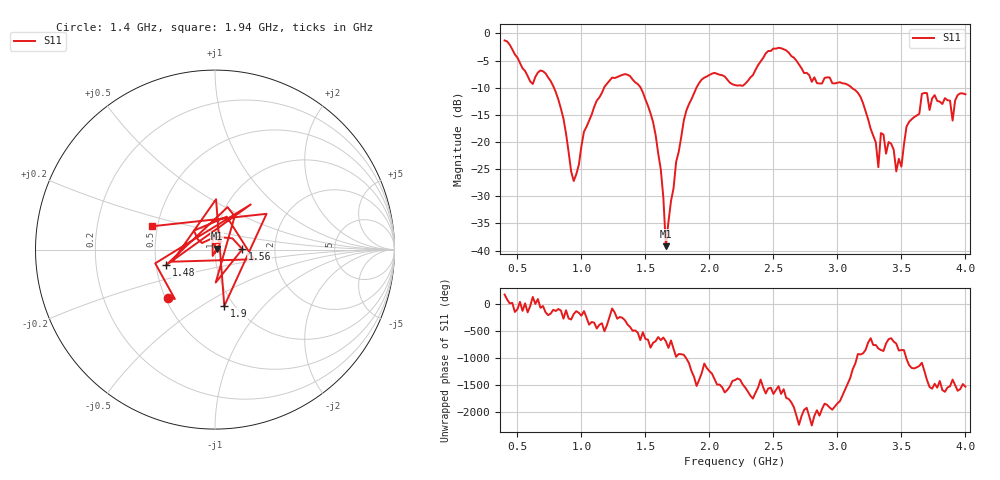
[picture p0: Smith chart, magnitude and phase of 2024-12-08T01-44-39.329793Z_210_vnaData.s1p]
!Created with skrf (http://scikit-rf.org).
# Hz S RI R 50.0
!freq ReS11 ImS11
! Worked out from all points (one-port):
!   181 points, 400 MHz to 4 GHz, reference 50 ohm
!   lowest |S11| = -39.2 dB at 1.66 GHz (marker M1), VSWR 1.02, Z = 51 + j0.545 ohm
!   |S11| at or under -10 dB: 785.4 MHz to 1.177 GHz (392 MHz wide, 39.9 % of centre); 1.463 GHz to 1.899 GHz (436.5 MHz wide, 26 % of centre); 3.112 GHz to end of sweep
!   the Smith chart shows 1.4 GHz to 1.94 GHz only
!   S11 on the Smith chart (normalised r, x): 1.4 GHz: 0.51, -0.32; 1.48 GHz: 0.56, -0.11; 1.56 GHz: 1.36, +0.01; 1.9 GHz: 0.90, -0.63; 1.94 GHz: 0.47, +0.14
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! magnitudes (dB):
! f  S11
! 400 MHz  -1.3
! 620 MHz  -9.3
! 720 MHz  -7.4
! 860 MHz  -15.7
! 940 MHz  -27.2
! 1.12 GHz  -12.4
! 1.3 GHz  -7.8
! 1.4 GHz  -8.5
! 1.48 GHz  -10.8
! 1.56 GHz  -16.3
! 1.62 GHz  -25.0
! 1.66 GHz  -39.2
! 1.76 GHz  -21.8
! 1.9 GHz  -9.9
! 1.94 GHz  -8.5
! 2.2 GHz  -9.5
! 2.5 GHz  -2.8
! 2.66 GHz  -4.5
! 3.1 GHz  -9.8
! 3.2 GHz  -12.8
! 3.32 GHz  -24.6
! 3.34 GHz  -18.4
! 3.5 GHz  -24.5
! 3.56 GHz  -16.3
! 3.66 GHz  -11.1
! 3.88 GHz  -12.4
! 3.9 GHz  -16.1
! 4 GHz  -11.2
